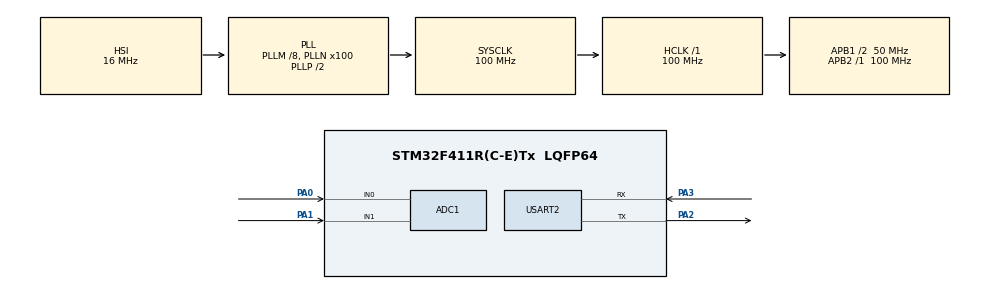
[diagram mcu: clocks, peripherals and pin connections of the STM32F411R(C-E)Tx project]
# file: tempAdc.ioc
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ADC1.Channel-0\#ChannelRegularConversion=ADC_CHANNEL_0
ADC1.Channel-1\#ChannelRegularConversion=ADC_CHANNEL_1
ADC1.ContinuousConvMode=ENABLE
ADC1.NbrOfConversion=2
ADC1.NbrOfConversionFlag=1
ADC1.Rank-0\#ChannelRegularConversion=1
ADC1.Rank-1\#ChannelRegularConversion=2
ADC1.SamplingTime-0\#ChannelRegularConversion=ADC_SAMPLETIME_84CYCLES
ADC1.SamplingTime-1\#ChannelRegularConversion=ADC_SAMPLETIME_84CYCLES
ADC1.ScanConvMode=ENABLE
ADC1.master=1
Mcu.Family=STM32F4
Mcu.Name=STM32F411R(C-E)Tx
Mcu.Package=LQFP64
NVIC.PriorityGroup=NVIC_PRIORITYGROUP_4
NVIC.USART2_IRQn=true\:0\:0\:false\:false\:true\:true\:true\:true
PA0-WKUP.Signal=ADCx_IN0
PA1.Signal=ADCx_IN1
PA2.Mode=Asynchronous
PA2.Signal=USART2_TX
PA3.Mode=Asynchronous
PA3.Signal=USART2_RX
ProjectManager.HeapSize=0x200
ProjectManager.StackSize=0x400
ProjectManager.TargetToolchain=STM32CubeIDE
RCC.48MHZClocksFreq_Value=50000000
RCC.AHBFreq_Value=100000000
RCC.APB1CLKDivider=RCC_HCLK_DIV2
RCC.APB1Freq_Value=50000000
RCC.APB1TimFreq_Value=100000000
RCC.APB2Freq_Value=100000000
RCC.APB2TimFreq_Value=100000000
RCC.CortexFreq_Value=100000000
RCC.HCLKFreq_Value=100000000
RCC.HSE_VALUE=25000000
RCC.HSI_VALUE=16000000
RCC.LSE_VALUE=32768
RCC.PLLM=8
RCC.PLLN=100
RCC.SYSCLKFreq_VALUE=100000000
RCC.SYSCLKSource=RCC_SYSCLKSOURCE_PLLCLK
RCC.VCOOutputFreq_Value=200000000
SH.ADCx_IN0.0=ADC1_IN0,IN0
SH.ADCx_IN1.0=ADC1_IN1,IN1
USART2.VirtualMode=VM_ASYNC
board=custom

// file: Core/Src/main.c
/* USER CODE BEGIN Header */
/**
  ******************************************************************************
  * @file           : main.c
  * @brief          : Main program body
  ******************************************************************************
  * @attention
  *
  * Copyright (c) 2024 STMicroelectronics.
  * All rights reserved.
  *
  * This software is licensed under terms that can be found in the LICENSE file
  * in the root directory of this software component.
  * If no LICENSE file comes with this software, it is provided AS-IS.
  *
  ******************************************************************************
  */
/* USER CODE END Header */
#include "main.h"

/* USER CODE BEGIN Includes */
#include "uart.h"
#include <stdio.h>
/* USER CODE END Includes */

ADC_HandleTypeDef hadc1;

UART_HandleTypeDef huart2;

void SystemClock_Config(void);
static void MX_GPIO_Init(void);
static void MX_ADC1_Init(void);
static void MX_USART2_UART_Init(void);

/* USER CODE BEGIN 0 */

uint32_t MovingAverage(uint32_t measurement, uint8_t ch){
	static uint32_t valueArray[100][2];
	static uint8_t valuePosition[2] = {0, 0};
  static uint32_t valueTotal[2] = {0, 0};

	valueTotal[ch] -= valueArray[valuePosition[ch]][ch];
  valueArray[valuePosition[ch]][ch] = measurement;
  valueTotal[ch] += valueArray[valuePosition[ch]][ch];
  valuePosition[ch] ++;
  valuePosition[ch] %= 100;

  return valueTotal[ch]/100;
}

double Kalman(double measurement, uint8_t ch) {

	static double P[] = {1.0, 1.0};
	static double varP = 0.0001;
	static double R[] = {0.25, 0.25};
	static double K[] = {1.0, 1.0};
	static double X[] = {20.0, 20.0};

	P[ch] = P[ch] + varP;
	K[ch] = P[ch] / (P[ch]+R[ch]);
	X[ch] = (K[ch] * measurement) + (1 - K[ch]) * X[ch];
	P[ch] = (1-K[ch]) * P[ch];

	return X[ch];
}
/* USER CODE END 0 */

int main(void)
{

  /* MCU Configuration--------------------------------------------------------*/

  /* Reset of all peripherals, Initializes the Flash interface and the Systick. */
  HAL_Init();

  /* Configure the system clock */
  SystemClock_Config();

  /* Initialize all configured peripherals */
  MX_GPIO_Init();
  MX_ADC1_Init();
  MX_USART2_UART_Init();
  /* USER CODE BEGIN 2 */
  initUart(&huart2);
  printf("start temperature with ADC example\n");
  /* USER CODE END 2 */

  /* Infinite loop */
  /* USER CODE BEGIN WHILE */
  while (1)
  {
  	// AD �???��

    HAL_ADC_Start(&hadc1);
    HAL_ADC_PollForConversion(&hadc1, 1);
    uint16_t tmpValue = 4095 - HAL_ADC_GetValue(&hadc1);
    //HAL_ADC_Stop(&hadc1);

    HAL_ADC_Start(&hadc1);
    HAL_ADC_PollForConversion(&hadc1, 1);
    uint16_t cdsValue = 4095 - HAL_ADC_GetValue(&hadc1);
    HAL_ADC_Stop(&hadc1);

  	// UART ?��?��
  	printf("%d\t%d\t%d\t%d\t%d\t%d\n",
  			cdsValue,
				tmpValue,
				MovingAverage(tmpValue,0),
				MovingAverage(tmpValue,1),
				(int)Kalman((double)cdsValue,0),
				(int)Kalman((double)tmpValue,1));
  	HAL_Delay(1);
    /* USER CODE END WHILE */

  }
}

void SystemClock_Config(void)
{
  RCC_OscInitTypeDef RCC_OscInitStruct = {0};
  RCC_ClkInitTypeDef RCC_ClkInitStruct = {0};

  /** Configure the main internal regulator output voltage
  */
  __HAL_RCC_PWR_CLK_ENABLE();
  __HAL_PWR_VOLTAGESCALING_CONFIG(PWR_REGULATOR_VOLTAGE_SCALE1);

  /** Initializes the RCC Oscillators according to the specified parameters
  * in the RCC_OscInitTypeDef structure.
  */
  RCC_OscInitStruct.OscillatorType = RCC_OSCILLATORTYPE_HSI;
  RCC_OscInitStruct.HSIState = RCC_HSI_ON;
  RCC_OscInitStruct.HSICalibrationValue = RCC_HSICALIBRATION_DEFAULT;
  RCC_OscInitStruct.PLL.PLLState = RCC_PLL_ON;
  RCC_OscInitStruct.PLL.PLLSource = RCC_PLLSOURCE_HSI;
  RCC_OscInitStruct.PLL.PLLM = 8;
  RCC_OscInitStruct.PLL.PLLN = 100;
  RCC_OscInitStruct.PLL.PLLP = RCC_PLLP_DIV2;
  RCC_OscInitStruct.PLL.PLLQ = 4;
  if (HAL_RCC_OscConfig(&RCC_OscInitStruct) != HAL_OK)
  {
    Error_Handler();
  }

  /** Initializes the CPU, AHB and APB buses clocks
  */
  RCC_ClkInitStruct.ClockType = RCC_CLOCKTYPE_HCLK|RCC_CLOCKTYPE_SYSCLK
                              |RCC_CLOCKTYPE_PCLK1|RCC_CLOCKTYPE_PCLK2;
  RCC_ClkInitStruct.SYSCLKSource = RCC_SYSCLKSOURCE_PLLCLK;
  RCC_ClkInitStruct.AHBCLKDivider = RCC_SYSCLK_DIV1;
  RCC_ClkInitStruct.APB1CLKDivider = RCC_HCLK_DIV2;
  RCC_ClkInitStruct.APB2CLKDivider = RCC_HCLK_DIV1;

  if (HAL_RCC_ClockConfig(&RCC_ClkInitStruct, FLASH_LATENCY_3) != HAL_OK)
  {
    Error_Handler();
  }
}

static void MX_ADC1_Init(void)
{

  ADC_ChannelConfTypeDef sConfig = {0};

  /** Configure the global features of the ADC (Clock, Resolution, Data Alignment and number of conversion)
  */
  hadc1.Instance = ADC1;
  hadc1.Init.ClockPrescaler = ADC_CLOCK_SYNC_PCLK_DIV4;
  hadc1.Init.Resolution = ADC_RESOLUTION_12B;
  hadc1.Init.ScanConvMode = ENABLE;
  hadc1.Init.ContinuousConvMode = ENABLE;
  hadc1.Init.DiscontinuousConvMode = DISABLE;
  hadc1.Init.ExternalTrigConvEdge = ADC_EXTERNALTRIGCONVEDGE_NONE;
  hadc1.Init.ExternalTrigConv = ADC_SOFTWARE_START;
  hadc1.Init.DataAlign = ADC_DATAALIGN_RIGHT;
  hadc1.Init.NbrOfConversion = 2;
  hadc1.Init.DMAContinuousRequests = DISABLE;
  hadc1.Init.EOCSelection = ADC_EOC_SINGLE_CONV;
  if (HAL_ADC_Init(&hadc1) != HAL_OK)
  {
    Error_Handler();
  }

  /** Configure for the selected ADC regular channel its corresponding rank in the sequencer and its sample time.
  */
  sConfig.Channel = ADC_CHANNEL_0;
  sConfig.Rank = 1;
  sConfig.SamplingTime = ADC_SAMPLETIME_84CYCLES;
  if (HAL_ADC_ConfigChannel(&hadc1, &sConfig) != HAL_OK)
  {
    Error_Handler();
  }

  /** Configure for the selected ADC regular channel its corresponding rank in the sequencer and its sample time.
  */
  sConfig.Channel = ADC_CHANNEL_1;
  sConfig.Rank = 2;
  if (HAL_ADC_ConfigChannel(&hadc1, &sConfig) != HAL_OK)
  {
    Error_Handler();
  }

}

static void MX_USART2_UART_Init(void)
{

  huart2.Instance = USART2;
  huart2.Init.BaudRate = 115200;
  huart2.Init.WordLength = UART_WORDLENGTH_8B;
  huart2.Init.StopBits = UART_STOPBITS_1;
  huart2.Init.Parity = UART_PARITY_NONE;
  huart2.Init.Mode = UART_MODE_TX_RX;
  huart2.Init.HwFlowCtl = UART_HWCONTROL_NONE;
  huart2.Init.OverSampling = UART_OVERSAMPLING_16;
  if (HAL_UART_Init(&huart2) != HAL_OK)
  {
    Error_Handler();
  }

}

static void MX_GPIO_Init(void)
{

  /* GPIO Ports Clock Enable */
  __HAL_RCC_GPIOA_CLK_ENABLE();

}

void Error_Handler(void)
{
  __disable_irq();
  while (1)
  {
  }
}
